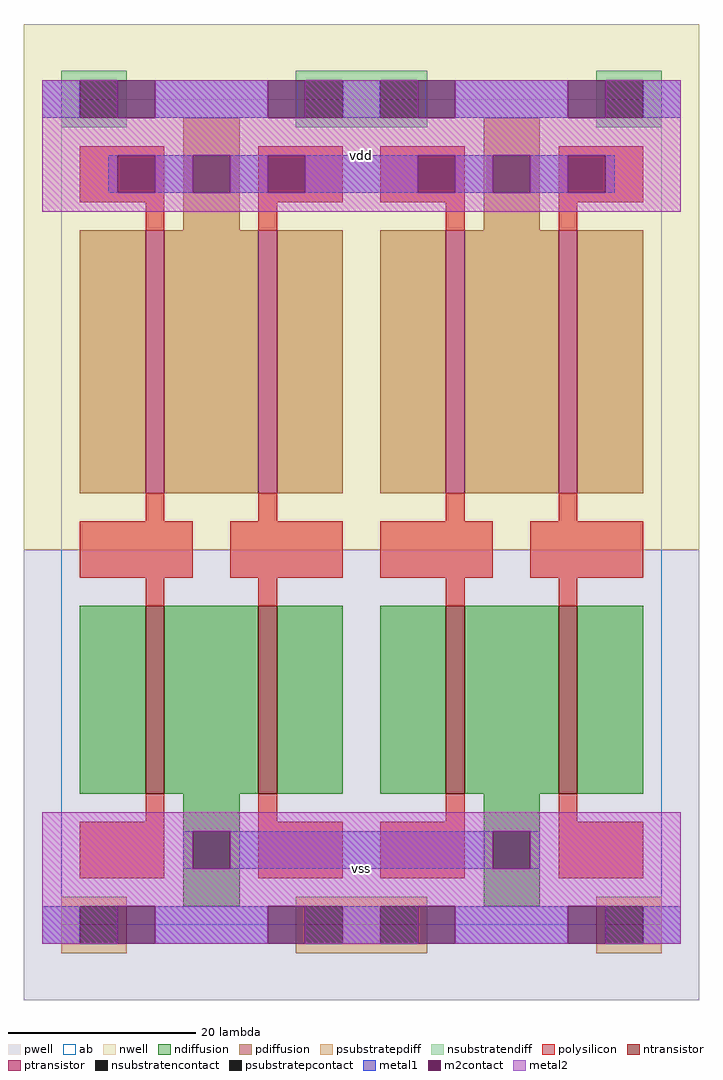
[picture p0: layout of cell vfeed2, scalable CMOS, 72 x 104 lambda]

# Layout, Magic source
magic
tech scmos
<< ab >>
rect 0 0 64 88
<< pwell >>
rect -4 -8 68 40
<< nwell >>
rect -4 40 68 96
<< polysilicon >>
rect 2 77 11 83
rect 9 74 11 77
rect 21 77 30 83
rect 34 77 43 83
rect 21 74 23 77
rect 41 74 43 77
rect 53 77 62 83
rect 53 74 55 77
rect 9 43 11 46
rect 21 43 23 46
rect 41 43 43 46
rect 53 43 55 46
rect 2 37 14 43
rect 18 37 30 43
rect 34 37 46 43
rect 50 37 62 43
rect 9 34 11 37
rect 21 34 23 37
rect 41 34 43 37
rect 53 34 55 37
rect 9 11 11 14
rect 2 5 11 11
rect 21 11 23 14
rect 41 11 43 14
rect 21 5 30 11
rect 34 5 43 11
rect 53 11 55 14
rect 53 5 62 11
<< ndiffusion >>
rect 2 14 9 34
rect 11 14 21 34
rect 23 14 30 34
rect 34 14 41 34
rect 43 14 53 34
rect 55 14 62 34
rect 13 2 19 14
rect 45 2 51 14
<< pdiffusion >>
rect 13 74 19 86
rect 45 74 51 86
rect 2 46 9 74
rect 11 46 21 74
rect 23 46 30 74
rect 34 46 41 74
rect 43 46 53 74
rect 55 46 62 74
<< metal1 >>
rect -2 86 2 90
rect 10 86 22 90
rect 30 86 34 90
rect 42 86 54 90
rect 62 86 66 90
rect 5 78 6 82
rect 10 78 14 82
rect 18 78 22 82
rect 26 78 38 82
rect 42 78 46 82
rect 50 78 54 82
rect 58 78 59 82
rect 13 6 14 10
rect 18 6 46 10
rect 50 6 51 10
rect -2 -2 2 2
rect 10 -2 22 2
rect 30 -2 34 2
rect 42 -2 54 2
rect 62 -2 66 2
<< metal2 >>
rect -2 86 6 90
rect 10 86 22 90
rect 26 86 38 90
rect 42 86 54 90
rect 58 86 66 90
rect -2 82 66 86
rect -2 78 6 82
rect 10 78 14 82
rect 18 78 22 82
rect 26 78 38 82
rect 42 78 46 82
rect 50 78 54 82
rect 58 78 66 82
rect -2 76 66 78
rect -2 10 66 12
rect -2 6 14 10
rect 18 6 46 10
rect 50 6 66 10
rect -2 2 66 6
rect -2 -2 6 2
rect 10 -2 22 2
rect 26 -2 38 2
rect 42 -2 54 2
rect 58 -2 66 2
<< ntransistor >>
rect 9 14 11 34
rect 21 14 23 34
rect 41 14 43 34
rect 53 14 55 34
<< ptransistor >>
rect 9 46 11 74
rect 21 46 23 74
rect 41 46 43 74
rect 53 46 55 74
<< m2contact >>
rect 6 86 10 90
rect 22 86 26 90
rect 38 86 42 90
rect 54 86 58 90
rect 6 78 10 82
rect 14 78 18 82
rect 22 78 26 82
rect 38 78 42 82
rect 46 78 50 82
rect 54 78 58 82
rect 14 6 18 10
rect 46 6 50 10
rect 6 -2 10 2
rect 22 -2 26 2
rect 38 -2 42 2
rect 54 -2 58 2
<< psubstratepcontact >>
rect 2 -2 6 2
rect 26 -2 30 2
rect 34 -2 38 2
rect 58 -2 62 2
<< nsubstratencontact >>
rect 2 86 6 90
rect 26 86 30 90
rect 34 86 38 90
rect 58 86 62 90
<< psubstratepdiff >>
rect 0 2 7 3
rect 25 2 39 3
rect 57 2 64 3
rect 0 -2 2 2
rect 6 -2 7 2
rect 0 -3 7 -2
rect 25 -2 26 2
rect 30 -2 34 2
rect 38 -2 39 2
rect 25 -3 39 -2
rect 57 -2 58 2
rect 62 -2 64 2
rect 57 -3 64 -2
<< nsubstratendiff >>
rect 0 90 7 91
rect 0 86 2 90
rect 6 86 7 90
rect 25 90 39 91
rect 25 86 26 90
rect 30 86 34 90
rect 38 86 39 90
rect 57 90 64 91
rect 57 86 58 90
rect 62 86 64 90
rect 0 85 7 86
rect 25 85 39 86
rect 57 85 64 86
<< labels >>
rlabel metal2 32 6 32 6 6 vss
rlabel metal2 32 82 32 82 6 vdd
<< end >>
